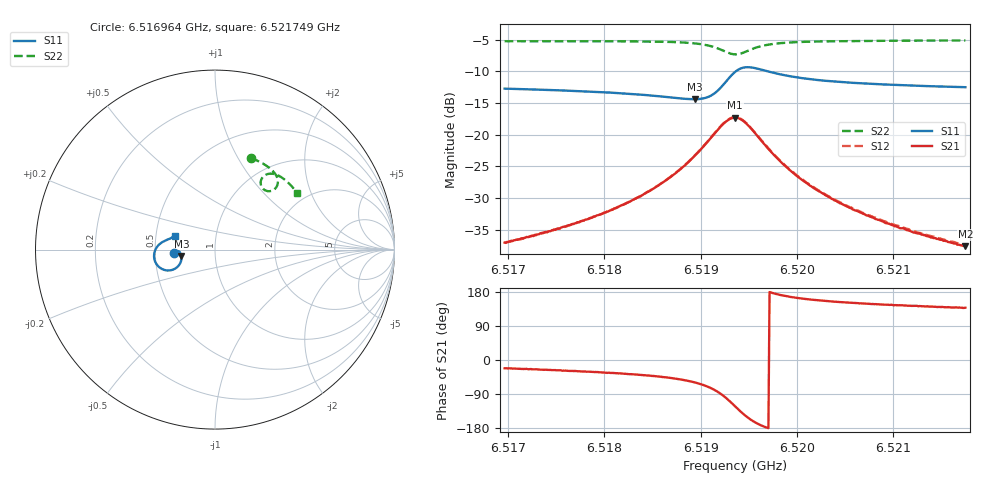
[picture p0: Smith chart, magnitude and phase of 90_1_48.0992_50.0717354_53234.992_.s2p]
#  HZ  S  RI  R  50.00
! Rohde & Schwarz Vector Network Analyzer
! Rohde-Schwarz,ZNB20-2Port,1311601062101988,3.16
! Created: UTC 12/23/2023, 3:43:39 AM
! freq[Hz]  re:S11  im:S11  re:S21  im:S21  re:S12  im:S12  re:S22  im:S22
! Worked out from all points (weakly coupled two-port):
!   401 points, 6.516964 GHz to 6.521749 GHz, reference 50 ohm
!   highest |S21| = -17.29 dB at 6.519356 GHz (marker M1); lowest = -37.6 dB at 6.521749 GHz (marker M2)
!   lowest |S11| = -14.4 dB at 6.518937 GHz (marker M3), VSWR 1.47, Z = 34.1 - j2.54 ohm
!   |S11| at or under -10 dB: start of sweep to 6.519363 GHz; 6.519703 GHz to end of sweep
!   |S22| runs from -7.3 to -5.1 dB; largest |S21 - S12| = 0.0042
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6.5169636e9  -0.2308 -0.0179  0.0131 -0.00525  0.0132 -0.00464  0.201 0.5103
6.5174302e9  -0.2255 -0.0112  0.0155 -0.00765  0.0157 -0.0072  0.2354 0.4957
6.5177651e9  -0.2208 -0.00731  0.0181 -0.0105  0.0184 -0.00978  0.2602 0.4831
6.5182197e9  -0.2117 -0.00523  0.023 -0.0169  0.0236 -0.0163  0.2943 0.4617
6.5185666e9  -0.2015 -0.00964  0.029 -0.0277  0.0298 -0.0268  0.3213 0.4391
6.5187461e9  -0.1944 -0.0173  0.0326 -0.0382  0.0339 -0.0374  0.3352 0.4224
6.5189375e9  -0.1875 -0.0358  0.0349 -0.0586  0.037 -0.0577  0.3478 0.3965
6.5190452e9  -0.1874 -0.0551  0.0317 -0.0772  0.0343 -0.0768  0.3505 0.3753
6.5191289e9  -0.1942 -0.0766  0.0222 -0.0966  0.0253 -0.0967  0.3457 0.3551
6.5192605e9  -0.2365 -0.1123  -0.0211 -0.1252  -0.0176 -0.1268  0.313 0.3266
6.5193083e9  -0.2644 -0.1162  -0.0467 -0.1257  -0.0433 -0.128  0.293 0.3257
6.5193562e9  -0.2941 -0.1086  -0.0724 -0.1159  -0.0697 -0.1188  0.2735 0.334
6.519416e9  -0.3235 -0.0842  -0.0961 -0.0913  -0.0942 -0.0949  0.2574 0.3547
6.5194758e9  -0.3378 -0.0525  -0.1051 -0.0624  -0.1042 -0.0659  0.2546 0.3787
6.5195715e9  -0.3353 -0.00896  -0.0982 -0.0255  -0.0984 -0.0286  0.2688 0.4067
6.5196792e9  -0.319 0.02  -0.081 -0.00313  -0.0818 -0.00554  0.2916 0.4202
6.5198945e9  -0.2898 0.044  -0.0541 0.0113  -0.0549 0.00978  0.3287 0.4212
6.5201577e9  -0.2684 0.0542  -0.0362 0.0138  -0.037 0.013  0.3592 0.4093
6.5205285e9  -0.2515 0.0612  -0.0237 0.0129  -0.0243 0.0124  0.3897 0.3885
6.5209592e9  -0.2393 0.0676  -0.0163 0.0112  -0.017 0.0109  0.4176 0.3631
6.5212344e9  -0.2334 0.0714  -0.0133 0.0101  -0.0139 0.0101  0.4328 0.3464
6.5217488e9  -0.2244 0.0785  -0.00979 0.00884  -0.0102 0.00877  0.4586 0.3146
